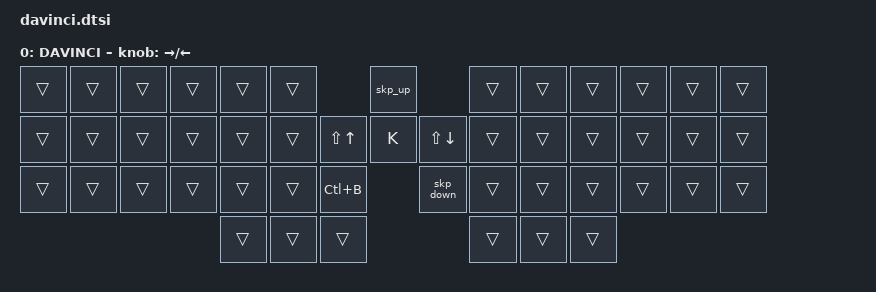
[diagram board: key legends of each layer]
/ {
    behaviors {
        SHIFT_KEY(skp_up, UP, RBKT)
        SHIFT_KEY(skp_down, DOWN, LBKT)
    };
};

/ {
    keymap {
        compatible = "zmk,keymap";

        layer_5 {
            display-name = "DAVINCI";
            bindings = <
&trans  &trans  &trans  &trans  &trans  &trans                                         &skp_up                   &trans  &trans  &trans  &trans  &trans  &trans
&trans  &trans  &trans  &trans  &trans  &trans                          &kp LS(UP)     &kp K      &kp LS(DOWN)   &trans  &trans  &trans  &trans  &trans  &trans
&trans  &trans  &trans  &trans  &trans  &trans       &kp LC(B)                         &skp_down                 &trans  &trans  &trans  &trans  &trans  &trans
                                &trans  &trans  &trans                                                           &trans  &trans  &trans
            >;
            sensor-bindings = <&inc_dec_kp RIGHT LEFT>;
        };
    };
};
